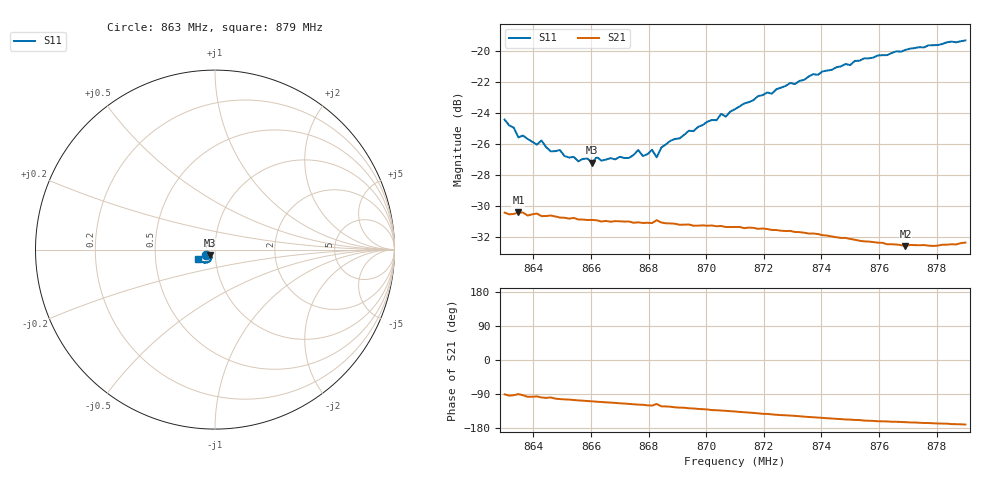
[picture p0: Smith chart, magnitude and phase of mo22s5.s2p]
# HZ S RI R 50
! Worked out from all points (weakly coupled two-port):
!   101 points, 863 MHz to 879 MHz, reference 50 ohm
!   highest |S21| = -30.43 dB at 863.48 MHz (marker M1); lowest = -32.6 dB at 876.92 MHz (marker M2)
!   lowest |S11| = -27.2 dB at 866.04 MHz (marker M3), VSWR 1.09, Z = 47.1 - j3.08 ohm
!   |S11| at or under -10 dB: start of sweep to end of sweep
!   S12 and S22 are empty: the file has one direction only
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8.63e8  -0.0519 -0.0301  -0.000313 -0.03  0 0  0 0
8.6332e8  -0.0468 -0.0315  -0.00147 -0.0297  0 0  0 0
8.6348e8  -0.042 -0.0316  -3.5e-05 -0.0301  0 0  0 0
8.6364e8  -0.0429 -0.0315  -0.00154 -0.03  0 0  0 0
8.6412e8  -0.04 -0.0296  -0.00314 -0.0297  0 0  0 0
8.6428e8  -0.0413 -0.0305  -0.00451 -0.0289  0 0  0 0
8.646e8  -0.0361 -0.0307  -0.00452 -0.029  0 0  0 0
8.6572e8  -0.0302 -0.0331  -0.0085 -0.0272  0 0  0 0
8.6604e8  -0.0288 -0.0326  -0.00928 -0.0269  0 0  0 0
8.662e8  -0.0294 -0.0347  -0.00974 -0.0266  0 0  0 0
8.6636e8  -0.0286 -0.0337  -0.01 -0.0263  0 0  0 0
8.6732e8  -0.0235 -0.0385  -0.0123 -0.0253  0 0  0 0
8.6764e8  -0.0252 -0.0406  -0.013 -0.0247  0 0  0 0
8.678e8  -0.0221 -0.0401  -0.0131 -0.0245  0 0  0 0
8.6812e8  -0.022 -0.0425  -0.014 -0.024  0 0  0 0
8.6828e8  -0.0161 -0.0423  -0.0124 -0.0255  0 0  0 0
8.6844e8  -0.0216 -0.0437  -0.0149 -0.0236  0 0  0 0
8.71e8  -0.0258 -0.0594  -0.0194 -0.0188  0 0  0 0
8.7372e8  -0.0427 -0.0725  -0.0225 -0.0124  0 0  0 0
8.7644e8  -0.0704 -0.0687  -0.0227 -0.00698  0 0  0 0
8.7692e8  -0.0748 -0.0674  -0.0225 -0.00642  0 0  0 0
8.79e8  -0.0947 -0.0521  -0.0237 -0.00402  0 0  0 0
